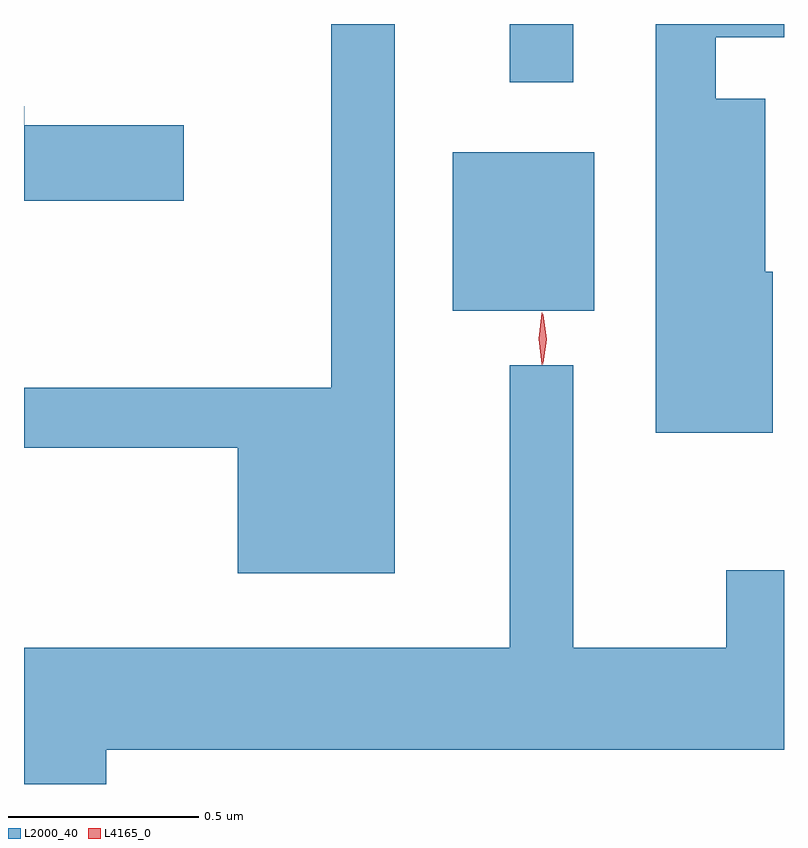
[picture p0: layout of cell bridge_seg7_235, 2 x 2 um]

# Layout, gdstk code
import gdstk
lib = gdstk.Library(unit=1e-6, precision=1e-09)
def R(c, l, rs):  # rectangles x0, y0, x1, y1
    for r in rs: c.add(gdstk.rectangle(r[:2], r[2:], *l))
def P(c, l, *ps):  # polygons
    for p in ps: c.add(gdstk.Polygon(p, *l))
L2000_40 = (2000, 40)
L4165_0 = (4165, 0)

bridge_seg7_235 = lib.new_cell('bridge_seg7_235')
R(bridge_seg7_235, L2000_40, [(1748.771,1711.031,1749.144,1711.449), (1748.921,1711.633,1749.089,1711.786)])
P(bridge_seg7_235, L2000_40, [(1748.619,1711.786),(1748.451,1711.786),(1748.451,1710.829),(1747.643,1710.829),(1747.643,1710.671),(1748.206,1710.671),(1748.206,1710.341),(1748.619,1710.341)],
  [(1749.614,1711.134),(1749.594,1711.134),(1749.594,1711.589),(1749.464,1711.589),(1749.464,1711.751),(1749.643,1711.751),(1749.643,1711.786),(1749.306,1711.786),(1749.306,1710.711),(1749.614,1710.711)],
  [(1748.064,1711.519),(1747.644,1711.519),(1747.644,1711.569),(1747.643,1711.569),(1747.643,1711.321),(1748.064,1711.321)],
  [(1747.859,1709.876),(1749.643,1709.876),(1749.643,1710.349),(1749.491,1710.349),(1749.491,1710.144),(1749.089,1710.144),(1749.089,1710.888),(1748.921,1710.888),(1748.921,1710.144),(1747.643,1710.144),(1747.643,1709.786),(1747.859,1709.786)])
P(bridge_seg7_235, L4165_0, [(1749.007,1710.889),(1749.006,1710.89),(1748.997,1710.958),(1749.006,1711.026),(1749.007,1711.026),(1749.007,1711.026),(1749.017,1710.958),(1749.007,1710.89)],
  [(1749.009,1710.892),(1749.009,1710.893),(1748.999,1710.957),(1749.009,1711.021),(1749.009,1711.022),(1749.01,1711.021),(1749.019,1710.957),(1749.01,1710.893)])

lib.write_gds('bridge_seg7_235.gds')
